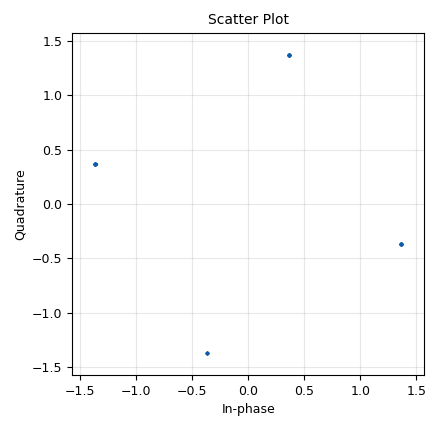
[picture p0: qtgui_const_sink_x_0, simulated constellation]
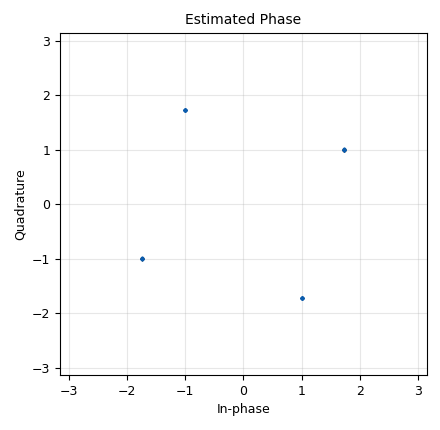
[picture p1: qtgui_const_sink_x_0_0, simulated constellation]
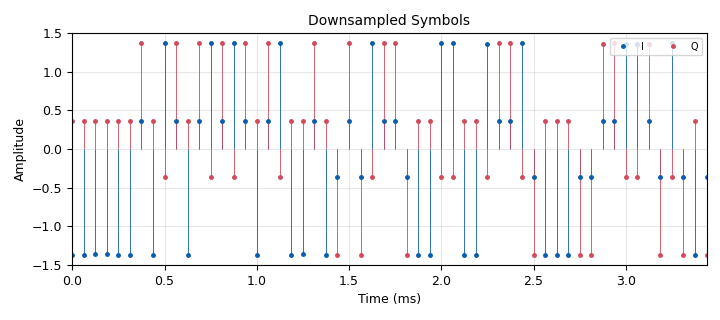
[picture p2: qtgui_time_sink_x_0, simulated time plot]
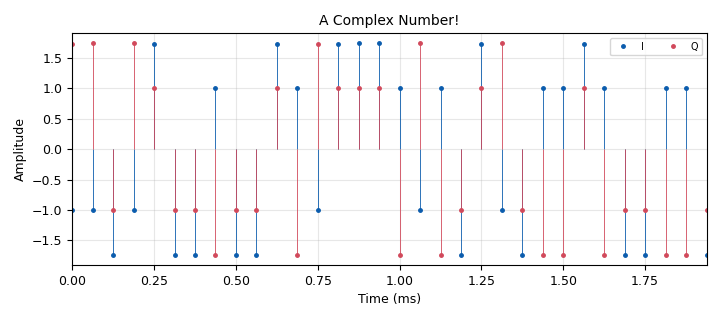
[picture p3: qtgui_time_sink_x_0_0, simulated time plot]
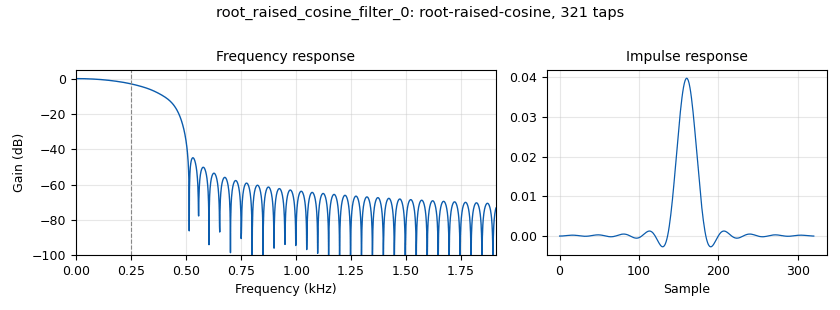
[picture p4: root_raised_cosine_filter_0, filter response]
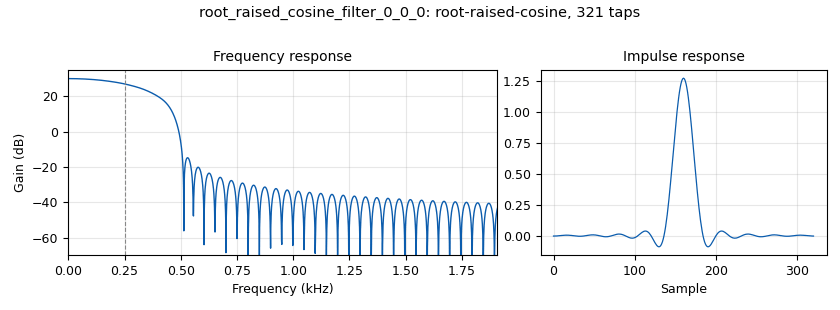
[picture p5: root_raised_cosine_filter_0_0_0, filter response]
options:
  parameters:
    author: Qasim Chaudhari
    generate_options: qt_gui
    id: conjugate_product
    output_language: python
    title: Conjugate Product
  states: {}

blocks:
- name: delay
  id: variable_qtgui_range
  parameters:
    gui_hint: 0,1,1,1
    label: Delay
    orient: Qt.Horizontal
    start: '0'
    step: '1'
    stop: '40'
    value: '0'
  states: {}
- name: downsample_delay
  id: variable
  parameters:
    value: '1'
  states: {}
- name: excess_bw
  id: variable
  parameters:
    value: '1'
  states: {}
- name: phase_estimate
  id: variable_function_probe
  parameters:
    block_id: blocks_probe_signal_x_0
    function_name: level
    poll_rate: '10'
    value: '0'
  states: {}
- name: phase_estimate_label
  id: variable_qtgui_label
  parameters:
    gui_hint: 3,1,1,1
    label: Estimated Phase
    type: real
    value: phase_estimate*180/math.pi
  states: {}
- name: phase_offset
  id: variable
  parameters:
    value: 30*math.pi/180
  states: {}
- name: samp_per_sym
  id: variable
  parameters:
    value: '32'
  states: {}
- name: samp_rate
  id: variable
  parameters:
    value: '16000'
  states: {}
- name: analog_random_source_x_0
  id: analog_random_source_x
  parameters:
    comment: Bits Generation
    max: '2'
    min: '0'
    num_samps: '1000'
    repeat: 'True'
    type: byte
  states: {}
- name: blocks_char_to_float_0
  id: blocks_char_to_float
  parameters:
    scale: '1'
  states: {}
- name: blocks_char_to_float_0_0
  id: blocks_char_to_float
  parameters:
    scale: '1'
  states: {}
- name: blocks_complex_to_arg_0
  id: blocks_complex_to_arg
  parameters: {}
  states: {}
- name: blocks_delay_0
  id: blocks_delay
  parameters:
    delay: delay
    type: complex
  states: {}
- name: blocks_float_to_complex_1
  id: blocks_float_to_complex
  parameters: {}
  states: {}
- name: blocks_keep_one_in_n_0
  id: blocks_keep_one_in_n
  parameters:
    n: samp_per_sym
    type: complex
  states: {}
- name: blocks_multiply_conjugate_cc_0
  id: blocks_multiply_conjugate_cc
  parameters:
    comment: Phase Error Detection
  states: {}
- name: blocks_multiply_const_vxx_0
  id: blocks_multiply_const_vxx
  parameters:
    comment: Phase Rotation
    const: complex(math.cos(phase_offset),math.sin(phase_offset))
    type: complex
  states: {}
- name: blocks_pack_k_bits_bb_0
  id: blocks_pack_k_bits_bb
  parameters:
    k: int(np.log2(4))
  states: {}
- name: blocks_probe_signal_x_0
  id: blocks_probe_signal_x
  parameters:
    type: float
  states: {}
- name: blocks_skiphead_0
  id: blocks_skiphead
  parameters:
    num_items: downsample_delay
    type: complex
  states: {}
- name: blocks_throttle_0
  id: blocks_throttle
  parameters:
    samples_per_second: samp_rate
    type: byte
  states: {}
- name: digital_map_bb_0
  id: digital_map_bb
  parameters:
    comment: Look-Up Table I
    map: (1,-1,1,-1)
  states: {}
- name: digital_map_bb_0_0
  id: digital_map_bb
  parameters:
    comment: Look-Up Table Q
    map: (1,1,-1,-1)
  states: {}
- name: import_0
  id: import
  parameters:
    imports: import numpy as np; import math
  states: {}
- name: note_0_1
  id: note
  parameters:
    note: Downsampler
  states: {}
- name: qtgui_const_sink_x_0
  id: qtgui_const_sink_x
  parameters:
    autoscale: 'True'
    grid: 'True'
    gui_hint: 1,1,1,1
    legend: 'False'
    name: Scatter Plot
    size: '100'
    type: complex
  states: {}
- name: qtgui_const_sink_x_0_0
  id: qtgui_const_sink_x
  parameters:
    grid: 'True'
    gui_hint: 2,1,1,1
    legend: 'False'
    name: Estimated Phase
    size: '100'
    type: complex
    xmax: math.pi
    xmin: '-math.pi'
    ymax: math.pi
    ymin: '-math.pi'
  states: {}
- name: qtgui_time_sink_x_0
  id: qtgui_time_sink_x
  parameters:
    autoscale: 'True'
    grid: 'True'
    gui_hint: 1,0,1,1
    label1: I
    label2: Q
    marker1: '0'
    marker2: '1'
    name: Downsampled Symbols
    size: '56'
    srate: samp_rate
    stemplot: 'True'
    type: complex
    width1: '2'
  states: {}
- name: qtgui_time_sink_x_0_0
  id: qtgui_time_sink_x
  parameters:
    autoscale: 'True'
    grid: 'True'
    gui_hint: 2,0,1,1
    label1: I
    label2: Q
    marker1: '0'
    marker2: '1'
    name: A Complex Number!
    size: samp_per_sym
    srate: samp_rate
    stemplot: 'True'
    type: complex
    width1: '2'
  states: {}
- name: root_raised_cosine_filter_0
  id: root_raised_cosine_filter
  parameters:
    alpha: excess_bw
    comment: Matched Filter
    decim: '1'
    gain: '1'
    ntaps: 10*samp_per_sym+1
    samp_rate: samp_rate
    sym_rate: samp_rate/samp_per_sym
    type: fir_filter_ccf
  states: {}
- name: root_raised_cosine_filter_0_0_0
  id: root_raised_cosine_filter
  parameters:
    alpha: excess_bw
    comment: Pulse Shaping Filter
    gain: samp_per_sym
    interp: samp_per_sym
    ntaps: 10*samp_per_sym+1
    samp_rate: samp_rate
    sym_rate: samp_rate/samp_per_sym
    type: interp_fir_filter_ccf
  states: {}

connections:
- [analog_random_source_x_0, '0', blocks_throttle_0, '0']
- [blocks_char_to_float_0, '0', blocks_float_to_complex_1, '0']
- [blocks_char_to_float_0_0, '0', blocks_float_to_complex_1, '1']
- [blocks_complex_to_arg_0, '0', blocks_probe_signal_x_0, '0']
- [blocks_delay_0, '0', blocks_multiply_conjugate_cc_0, '1']
- [blocks_float_to_complex_1, '0', blocks_delay_0, '0']
- [blocks_float_to_complex_1, '0', root_raised_cosine_filter_0_0_0, '0']
- [blocks_keep_one_in_n_0, '0', blocks_multiply_conjugate_cc_0, '0']
- [blocks_keep_one_in_n_0, '0', qtgui_const_sink_x_0, '0']
- [blocks_keep_one_in_n_0, '0', qtgui_time_sink_x_0, '0']
- [blocks_multiply_conjugate_cc_0, '0', blocks_complex_to_arg_0, '0']
- [blocks_multiply_conjugate_cc_0, '0', qtgui_const_sink_x_0_0, '0']
- [blocks_multiply_conjugate_cc_0, '0', qtgui_time_sink_x_0_0, '0']
- [blocks_multiply_const_vxx_0, '0', root_raised_cosine_filter_0, '0']
- [blocks_pack_k_bits_bb_0, '0', digital_map_bb_0, '0']
- [blocks_pack_k_bits_bb_0, '0', digital_map_bb_0_0, '0']
- [blocks_skiphead_0, '0', blocks_keep_one_in_n_0, '0']
- [blocks_throttle_0, '0', blocks_pack_k_bits_bb_0, '0']
- [digital_map_bb_0, '0', blocks_char_to_float_0, '0']
- [digital_map_bb_0_0, '0', blocks_char_to_float_0_0, '0']
- [root_raised_cosine_filter_0, '0', blocks_skiphead_0, '0']
- [root_raised_cosine_filter_0_0_0, '0', blocks_multiply_const_vxx_0, '0']

metadata:
  file_format: 1
